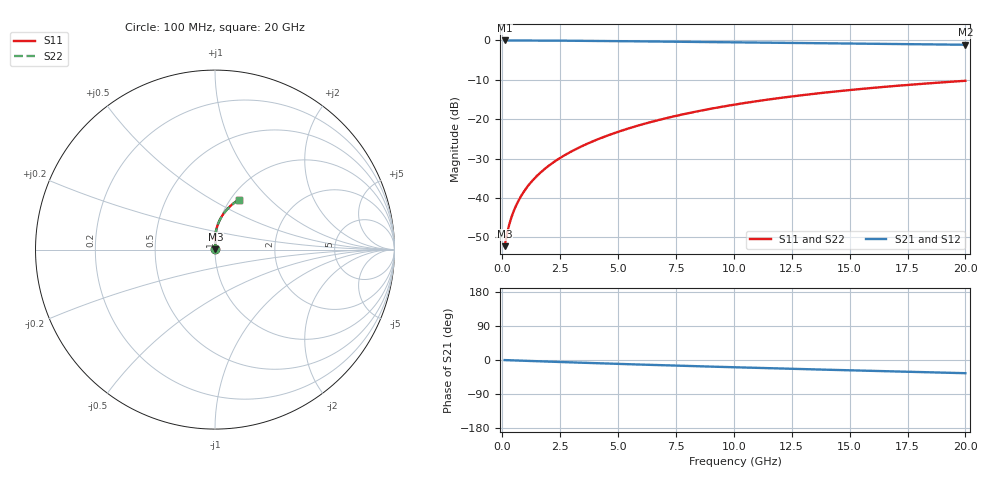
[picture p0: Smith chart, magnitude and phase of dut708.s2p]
! Touchstone file exported from HFSS 2024.1.0
!  File:  C:/UserFiles/LocalFiles/RDL_TSV_Batchsim/temp_RDL_top_708_1779850116.aedt
!  Generated:  10:51:10 AM May 27, 2026
!  Design:  RDL_top
!  Project:  temp_RDL_top_708_1779850116
!  Setup:  Setup1
!  Solution:  Sweep
! Variables:
!  dtsv = 10.80580581um
!  hbump = 3um
!  htsv = 73.52um
!  ldown = 100um
!  lrdl = 485.13um
!  p = 40
!  p1 = 55.51um
!  rhole = 1um
!  t = 450um
!  tdown = 3.915915916um
!  trdl = 3.59um
!  wdown = 15.38538539um
!  wrdl = 27.45um
# GHz S MA R 50.000000
! Terminal data exported
! Port[1] = Box2_T1
! Port[2] = Box2_T2
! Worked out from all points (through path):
!   200 points, 100 MHz to 20 GHz, reference 50 ohm
!   highest |S21| = -0.02 dB at 100 MHz (marker M1); lowest = -1.1 dB at 20 GHz (marker M2)
!   group delay of S21, straight-line fit = 4.77 ps
!   lowest |S11| = -52.2 dB at 100 MHz (marker M3), VSWR 1.00, Z = 50.2 + j0.144 ohm
!   |S11| at or under -10 dB: start of sweep to end of sweep
!   |S22| runs from -52.2 to -10.3 dB; largest |S21 - S12| = 3.2e-15
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0.1  0.002448 35.8  0.998 -0.2  0.998 -0.2  0.002448 35.8
! Gamma 0 0 0 0
! Port Impedance 50 0 50 0
0.2  0.003487 52.8  0.9978 -0.4  0.9978 -0.4  0.003487 52.8
0.3  0.004612 61.2  0.9977 -0.7  0.9977 -0.7  0.004612 61.2
0.4  0.005749 66.5  0.9975 -0.9  0.9975 -0.9  0.00575 66.5
0.5  0.0069 70.3  0.9973 -1.1  0.9973 -1.1  0.006901 70.3
0.6  0.008067 73.1  0.9972 -1.3  0.9972 -1.3  0.008067 73.1
0.8  0.01044 77.2  0.9969 -1.7  0.9969 -1.7  0.01045 77.2
1.1  0.0141 80.9  0.9963 -2.4  0.9963 -2.4  0.0141 80.9
1.3  0.01659 82.6  0.9958 -2.8  0.9958 -2.8  0.01659 82.6
1.6  0.02039 84.5  0.995 -3.4  0.995 -3.4  0.02039 84.5
2.1  0.0269 86.5  0.9934 -4.5  0.9934 -4.5  0.0269 86.5
2.7  0.03501 88.0  0.991 -5.7  0.991 -5.7  0.03501 88.0
3.5  0.04635 89.0  0.987 -7.3  0.987 -7.3  0.04634 89.0
4.2  0.05674 89.3  0.9831 -8.7  0.9831 -8.7  0.05673 89.2
5  0.06912 89.1  0.9782 -10.3  0.9782 -10.3  0.0691 89.1
6.8  0.09842 87.5  0.9664 -13.6  0.9664 -13.6  0.09839 87.4
8.4  0.1254 85.1  0.9557 -16.4  0.9557 -16.4  0.1254 85.1
10.1  0.1543 82.2  0.9443 -19.3  0.9443 -19.3  0.1542 82.2
11.7  0.1812 79.3  0.9338 -21.9  0.9338 -21.9  0.1811 79.3
13.4  0.209 76.2  0.9227 -24.7  0.9227 -24.7  0.2089 76.2
16.7  0.2602 70.2  0.9014 -29.8  0.9014 -29.8  0.2601 70.2
20  0.3071 64.6  0.8802 -34.8  0.8802 -34.8  0.3069 64.5
